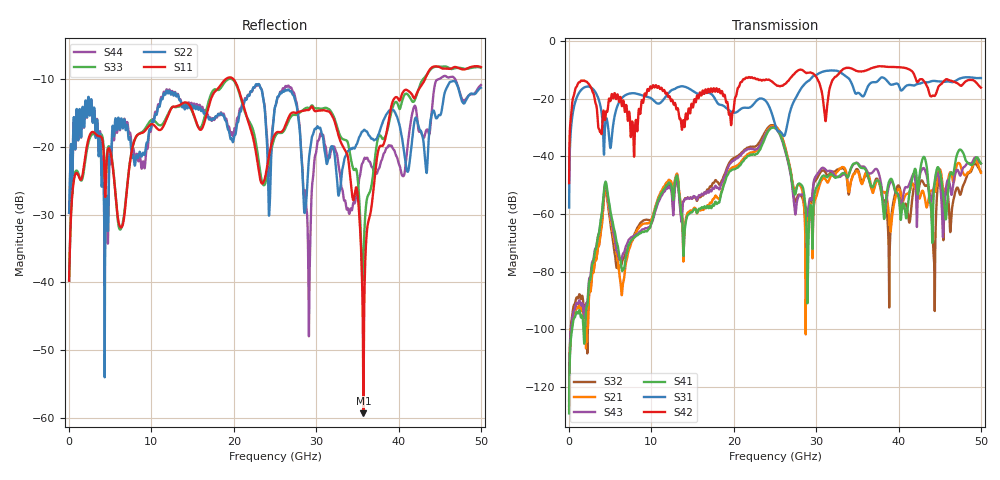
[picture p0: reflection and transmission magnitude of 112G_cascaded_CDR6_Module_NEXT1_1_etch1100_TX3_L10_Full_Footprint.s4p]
! Created Tue Feb 26 13:39:32 2019
# hz S ma R 50
! 4 Port Network Data from SP1.SP block
! freq  magS11  angS11  magS12  angS12  magS13  angS13  magS14  angS14
!  magS21  angS21  magS22  angS22  magS23  angS23  magS24  angS24
!  magS31  angS31  magS32  angS32  magS33  angS33  magS34  angS34
!  magS41  angS41  magS42  angS42  magS43  angS43  magS44  angS44
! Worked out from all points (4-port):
!   5000 points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, 10 MHz to 50 GHz, reference 50 ohm
!   strongest paths, dB at 10 MHz, 12.51 GHz, 25.01 GHz, 37.51 GHz, 50 GHz:
!     S42: -49.3, -20.3, -14.9, -8.8, -16.1
!     S31: -57.7, -16.9, -28.9, -13.8, -12.8
!     S41: -129.2, -51.7, -30.2, -48.4, -42.5
!     S43: -126.5, -54.2, -30.2, -45.1, -42.5
!     S21: -127.6, -50.4, -29.6, -48.4, -45.7
!     S32: -124.7, -52.7, -29.5, -48.2, -45.3
!   lowest |S11| = -59.3 dB at 35.74 GHz (marker M1), VSWR 1.00, Z = 50 + j0.108 ohm
!   |S11| at or under -10 dB: start of sweep to 19 GHz; 19.98 GHz to 43.21 GHz (23.24 GHz wide, 73.6 % of centre)
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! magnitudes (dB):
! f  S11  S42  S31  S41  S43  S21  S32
! 10 MHz  -39.7  -49.3  -57.7  -129.2  -126.5  -127.6  -124.7
! 1.94 GHz  -21.6  -13.9  -16.0  -100.4  -93.6  -97.1  -91.6
! 4.43 GHz  -26.8  -26.2  -27.5  -48.8  -49.2  -50.6  -51.2
! 19.59 GHz  -9.7  -26.3  -24.3  -45.1  -42.4  -44.4  -41.7
! 35.74 GHz  -59.3  -10.5  -19.1  -44.0  -43.5  -48.1  -48.3
! 44.29 GHz  -8.1  -19.0  -13.8  -52.2  -50.6  -51.8  -75.3
! 50 GHz  -8.2  -16.1  -12.8  -42.5  -42.5  -45.7  -45.3
